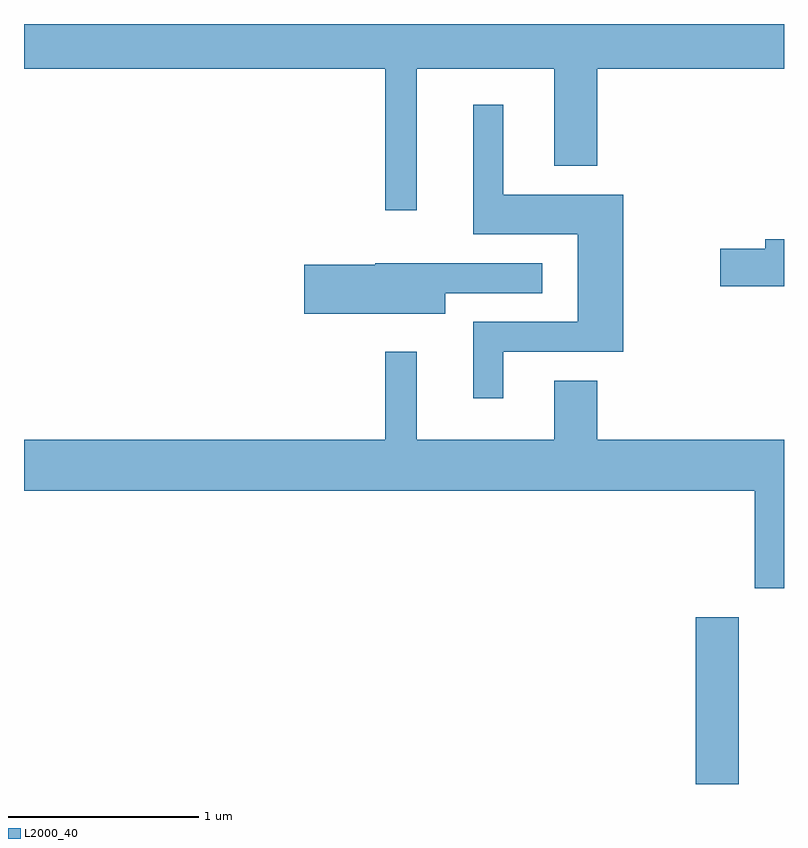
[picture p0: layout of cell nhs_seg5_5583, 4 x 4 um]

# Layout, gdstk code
import gdstk
lib = gdstk.Library(unit=1e-6, precision=1e-09)
def R(c, l, rs):  # rectangles x0, y0, x1, y1
    for r in rs: c.add(gdstk.rectangle(r[:2], r[2:], *l))
def P(c, l, *ps):  # polygons
    for p in ps: c.add(gdstk.Polygon(p, *l))
L2000_40 = (2000, 40)

nhs_seg5_5583 = lib.new_cell('nhs_seg5_5583')
R(nhs_seg5_5583, L2000_40, [(353.146,1524.072,353.374,1524.949)])
P(nhs_seg5_5583, L2000_40, [(351.679,1527.836),(352.401,1527.836),(352.401,1527.326),(352.629,1527.326),(352.629,1527.836),(353.611,1527.836),(353.611,1528.072),(349.611,1528.072),(349.611,1527.836),(351.511,1527.836),(351.511,1527.093),(351.679,1527.093)],
  [(352.134,1526.346),(352.764,1526.346),(352.764,1527.174),(352.134,1527.174),(352.134,1527.648),(351.976,1527.648),(351.976,1526.966),(352.526,1526.966),(352.526,1526.504),(351.976,1526.504),(351.976,1526.103),(352.134,1526.103)],
  [(353.611,1526.939),(353.511,1526.939),(353.511,1526.889),(353.276,1526.889),(353.276,1526.691),(353.611,1526.691)],
  [(351.829,1526.656),(352.338,1526.656),(352.338,1526.814),(351.46,1526.814),(351.46,1526.804),(351.086,1526.804),(351.086,1526.546),(351.829,1526.546)],
  [(353.611,1525.884),(352.629,1525.884),(352.629,1526.194),(352.401,1526.194),(352.401,1525.884),(351.679,1525.884),(351.679,1526.348),(351.511,1526.348),(351.511,1525.884),(349.611,1525.884),(349.611,1525.616),(353.456,1525.616),(353.456,1525.101),(353.611,1525.101)])

lib.write_gds('nhs_seg5_5583.gds')
